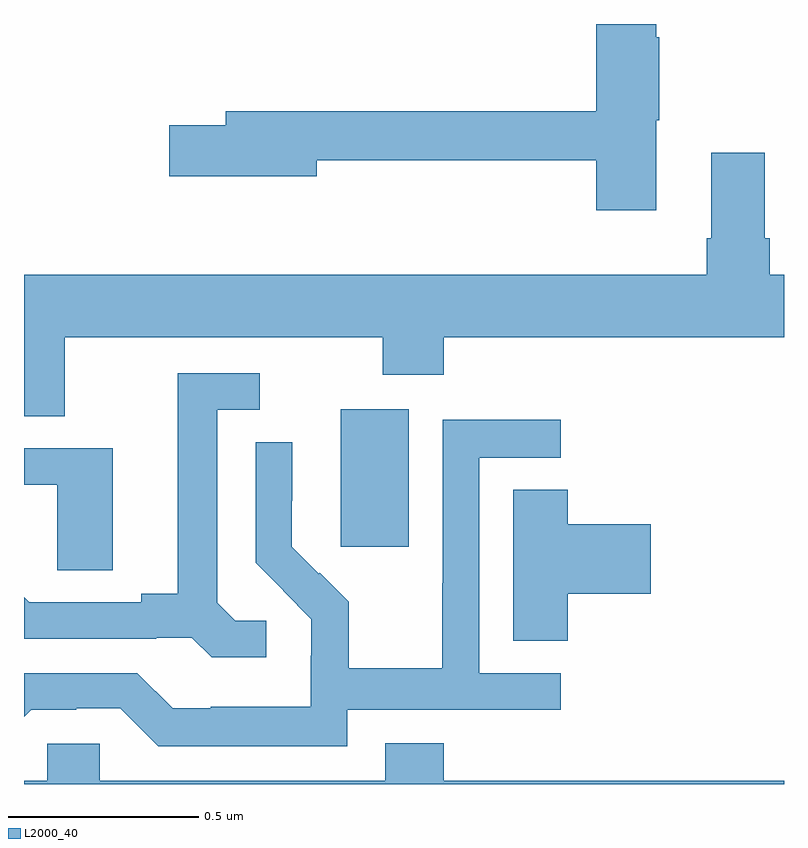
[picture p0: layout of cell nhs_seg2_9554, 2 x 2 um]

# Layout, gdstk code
import gdstk
lib = gdstk.Library(unit=1e-6, precision=1e-09)
def R(c, l, rs):  # rectangles x0, y0, x1, y1
    for r in rs: c.add(gdstk.rectangle(r[:2], r[2:], *l))
def P(c, l, *ps):  # polygons
    for p in ps: c.add(gdstk.Polygon(p, *l))
L2000_40 = (2000, 40)

nhs_seg2_9554 = lib.new_cell('nhs_seg2_9554')
R(nhs_seg2_9554, L2000_40, [(230.834,640.425,231.013,640.786)])
P(nhs_seg2_9554, L2000_40, [(231.664,641.547),(231.672,641.547),(231.672,641.765),(231.664,641.765),(231.664,641.8),(231.506,641.8),(231.506,641.57),(230.531,641.57),(230.531,641.534),(230.382,641.534),(230.382,641.399),(230.77,641.399),(230.77,641.442),(231.506,641.442),(231.506,641.31),(231.664,641.31)],
  [(230.107,640.976),(230.944,640.976),(230.944,640.877),(231.104,640.877),(231.104,640.976),(232,640.976),(232,641.14),(231.962,641.14),(231.962,641.236),(231.949,641.236),(231.949,641.461),(231.809,641.461),(231.809,641.236),(231.797,641.236),(231.797,641.14),(230,641.14),(230,640.768),(230.107,640.768)],
  [(230.638,640.23),(230.556,640.23),(230.509,640.277),(230.509,640.785),(230.62,640.785),(230.62,640.881),(230.405,640.881),(230.405,640.301),(230.309,640.301),(230.309,640.278),(230.014,640.278),(230,640.292),(230,640.182),(230.348,640.182),(230.348,640.185),(230.442,640.185),(230.494,640.133),(230.638,640.133)],
  [(230.85,639.996),(231.412,639.996),(231.412,640.092),(231.198,640.092),(231.198,640.659),(231.412,640.659),(231.412,640.758),(231.102,640.758),(231.102,640.328),(231.1,640.328),(231.1,640.105),(230.855,640.105),(230.855,640.279),(230.778,640.356),(230.775,640.353),(230.705,640.424),(230.705,640.546),(230.706,640.546),(230.706,640.7),(230.61,640.7),(230.61,640.382),(230.683,640.309),(230.682,640.308),(230.756,640.234),(230.756,640.137),(230.754,640.137),(230.754,640.003),(230.491,640.003),(230.491,639.999),(230.391,639.999),(230.298,640.092),(230,640.092),(230,639.977),(230.019,639.996),(230.138,639.996),(230.138,639.999),(230.253,639.999),(230.353,639.899),(230.85,639.899)],
  [(230.233,640.683),(230,640.683),(230,640.587),(230.088,640.587),(230.088,640.363),(230.233,640.363)],
  [(231.431,640.301),(231.649,640.301),(231.649,640.484),(231.431,640.484),(231.431,640.574),(231.287,640.574),(231.287,640.177),(231.431,640.177)],
  [(232,639.808),(231.104,639.808),(231.104,639.907),(230.951,639.907),(230.951,639.808),(230.199,639.808),(230.199,639.906),(230.061,639.906),(230.061,639.808),(230,639.808),(230,639.8),(232,639.8)])

lib.write_gds('nhs_seg2_9554.gds')
